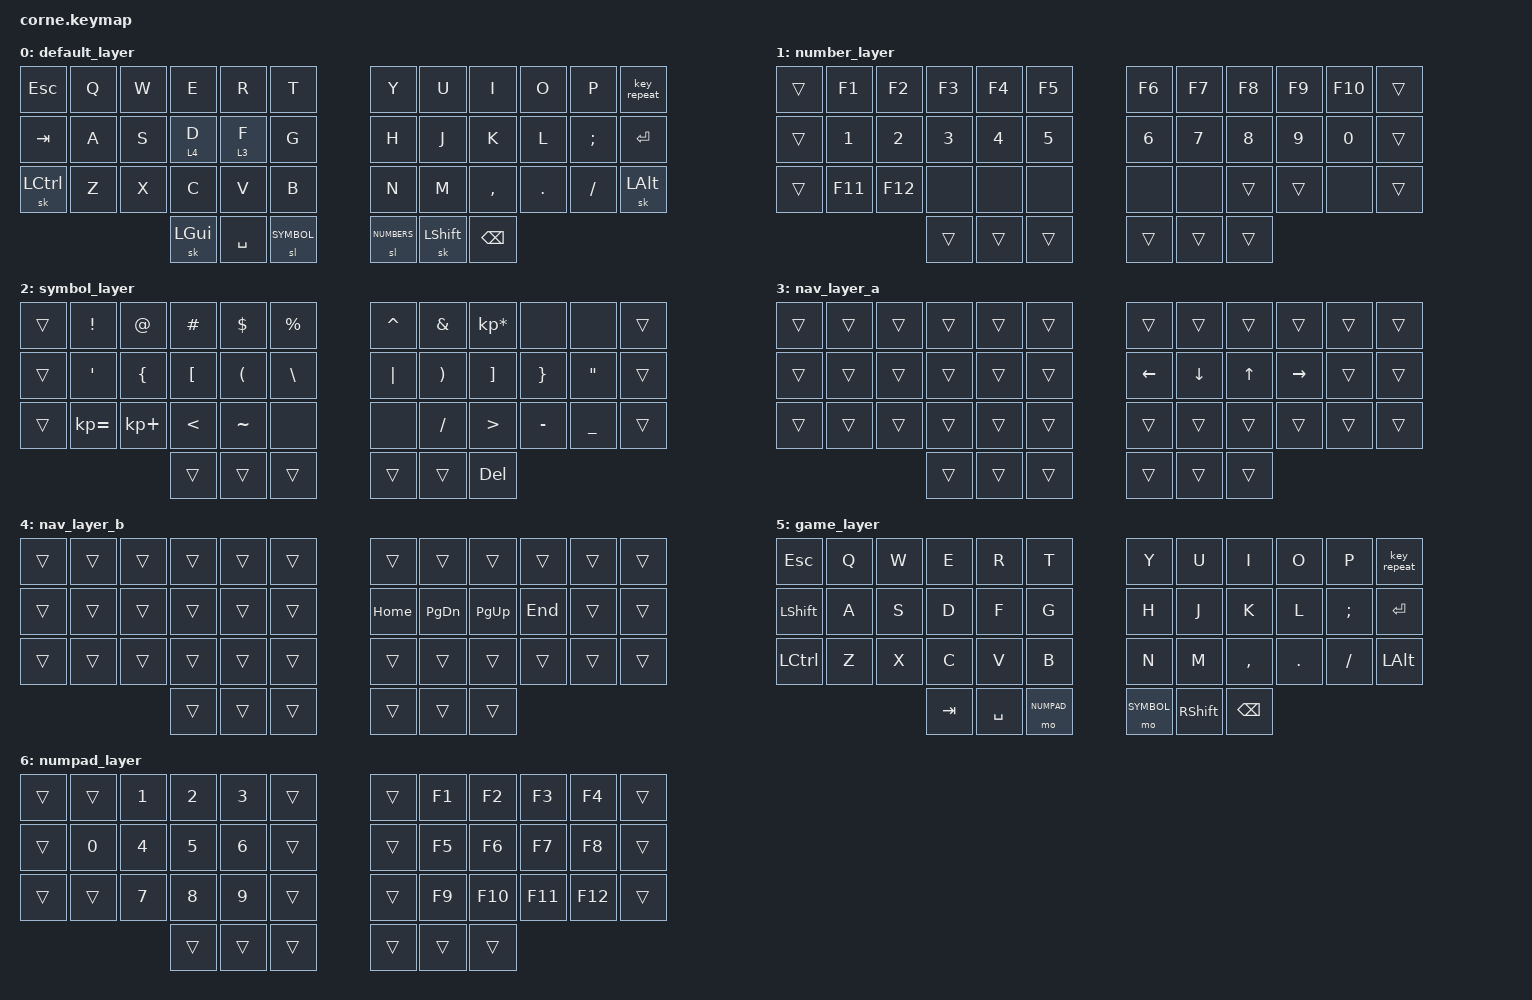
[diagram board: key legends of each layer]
/*
 * Copyright (c) 2020 The ZMK Contributors
 *
 * SPDX-License-Identifier: MIT
 */

#include <behaviors.dtsi>
#include <dt-bindings/zmk/keys.h>
#include <dt-bindings/zmk/bt.h>

#define DEFAULT 0
#define NUMBERS 1
#define SYMBOL  2
#define GAME    5
#define NUMPAD  6

&sk {
    quick-release;
};

/ {
    combos {
        compatible = "zmk,combos";

        combo_boot {
            timeout-ms = <50>;   
            key-positions = <0 11>;
            bindings = <&bootloader>;
        };
        combo_game {
            timeout-ms = <50>;
            key-positions = <38 39>;
            bindings = <&tog GAME>;
        }; 
    };
};

/ {
        keymap {
                compatible = "zmk,keymap";

                default_layer {
                        bindings = <
   &kp ESC   &kp Q    &kp W &kp E   &kp R   &kp T &kp Y &kp U &kp I     &kp O   &kp P    &key_repeat
   &kp TAB   &kp A    &kp S &lt 4 D &lt 3 F &kp G &kp H &kp J &kp K     &kp L   &kp SEMI &kp RET
   &sk LCTRL &kp Z    &kp X &kp C   &kp V   &kp B &kp N &kp M &kp COMMA &kp DOT &kp FSLH &sk LALT
             &sk LGUI &kp SPACE &sl SYMBOL  &sl NUMBERS &sk LSHIFT  &kp BKSP
                        >;
                };

                number_layer {
                        bindings = <
   &trans    &kp F1  &kp F2  &kp F3 &kp F4   &kp F5 &kp F6 &kp F7 &kp F8 &kp F9 &kp F10 &trans
   &trans    &kp N1  &kp N2  &kp N3 &kp N4   &kp N5 &kp N6 &kp N7 &kp N8 &kp N9 &kp N0  &trans
   &trans    &kp F11 &kp F12 &none  &none    &none  &none  &none  &trans &trans &none   &trans
                         &trans &trans &trans    &trans  &trans  &trans
                        >;
                };

                symbol_layer {
                        bindings = <
   &trans &kp EXCL     &kp AT      &kp HASH &kp DLLR  &kp PRCNT &kp CARET &kp AMPS  &kp KP_MULTIPLY  &none     &none     &trans
   &trans &kp SQT      &kp LBRC    &kp LBKT &kp LPAR  &kp BSLH  &kp PIPE  &kp RPAR  &kp RBKT         &kp RBRC  &kp DQT   &trans
   &trans &kp KP_EQUAL &kp KP_PLUS &kp LT   &kp TILDE &none     &none     &kp FSLH  &kp GT           &kp MINUS &kp UNDER &trans
                             &trans &trans   &trans   &trans   &trans    &kp DEL
                        >;
                };

                nav_layer_a {
                        bindings = <
   &trans &trans &trans &trans &trans &trans   &trans    &trans    &trans &trans    &trans &trans
   &trans &trans &trans &trans &trans &trans   &kp LEFT  &kp DOWN  &kp UP &kp RIGHT &trans &trans
   &trans &trans &trans &trans &trans &trans   &trans    &trans    &trans &trans    &trans &trans
                        &trans &trans &trans   &trans &trans &trans
                        >;
                };
                
                nav_layer_b {
                        bindings = <
   &trans &trans &trans &trans &trans &trans   &trans    &trans    &trans    &trans  &trans &trans
   &trans &trans &trans &trans &trans &trans   &kp HOME  &kp PG_DN &kp PG_UP &kp END &trans &trans
   &trans &trans &trans &trans &trans &trans   &trans    &trans    &trans    &trans  &trans &trans
                        &trans &trans &trans   &trans &trans &trans
                        >;
                };

                game_layer {
                        bindings = <
   &kp ESC    &kp Q &kp W &kp E  &kp R &kp T  &kp Y &kp U  &kp I     &kp O   &kp P    &key_repeat
   &kp LSHIFT &kp A &kp S &kp D  &kp F &kp G  &kp H &kp J  &kp K     &kp L   &kp SEMI &kp RET
   &kp LCTRL  &kp Z &kp X &kp C  &kp V &kp B  &kp N &kp M  &kp COMMA &kp DOT &kp FSLH &kp LALT
             &kp TAB &kp SPACE &mo NUMPAD   &mo SYMBOL &kp RSHIFT &kp BKSP
                        >;
                };

                numpad_layer {
                        bindings = <
   &trans &trans &kp N1 &kp N2 &kp N3 &trans   &trans  &kp F1 &kp F2  &kp F3  &kp F4  &trans
   &trans &kp N0 &kp N4 &kp N5 &kp N6 &trans   &trans  &kp F5 &kp F6  &kp F7  &kp F8  &trans
   &trans &trans &kp N7 &kp N8 &kp N9 &trans   &trans  &kp F9 &kp F10 &kp F11 &kp F12 &trans
                        &trans &trans &trans   &trans &trans &trans
                        >;
                };

        };
};
